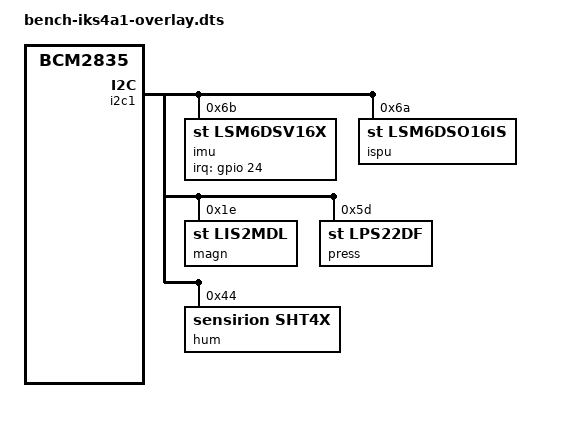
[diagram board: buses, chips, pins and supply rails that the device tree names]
/*
 * bench-iks4a1: the four supported sensors of an X-NUCLEO-IKS4A1 on I2C1.
 *
 * Declarative binding only. Nothing here probes, configures or reads
 * anything: it tells the kernel which driver owns which address, and the
 * drivers do the rest. That is the whole argument for an overlay over a
 * vendor library, and it is why this file is the entire hardware
 * description for the project.
 *
 * Applied with "dtoverlay=bench-iks4a1" in config.txt, which
 * kas/bench-iio.yml puts there through RPI_EXTRA_CONFIG.
 *
 * WHAT IS NOT HERE, AND WHY
 *
 * The STTS22H answers on the bus and has no node. A node naming a
 * compatible string the kernel does not know is not an error: the node is
 * created, nothing binds to it, and the part is invisible with no message
 * anywhere. Leaving it out and listing it in the inventory table is the
 * honest version of the same outcome.
 *
 * THE LSM6DSO16IS AT 0x6a NOW HAS A NODE, and the condition this comment
 * set for adding one has been met rather than waived. It read: check that
 * the st_lsm6dsx driver in the running kernel lists a matching compatible,
 * rather than assuming one. Checked on Thursday 1 October 2026 against the
 * source on the card, which carries it in five places, st_lsm6dsx_i2c.c
 * line 126 among them, and then demonstrated by instantiating the client
 * by hand with new_device and watching the driver probe it cleanly.
 *
 * That part was recorded as not-bound for two days and then as
 * unsupported, and it was neither. It was undeclared. The verdict
 * iio-probe printed, "driver present, nothing matched it: look at the
 * overlay, not the image", was correct every time it appeared.
 *
 * The LIS2DUXS12 has no node either. It looked intermittent on the bus
 * and was not: it declines the zero-length write that i2cdetect probes
 * with by default, and answers both "i2cdetect -r" and a direct register
 * read. An intermediate version of this comment concluded from one scan
 * that it was not on the shield at all.
 *
 * 0x19 AND 0x38 ARE UNDECLARED, NOT UNSUPPORTED, and the inventory called
 * both of them unsupported for two days. Joseph established on Thursday 1
 * October 2026, from UM3239 and ST's own shield overlay, that:
 *
 *   0x19  LIS2DUXS12  SB20 closed, SA0 high, ADD 33h; SB19 would be 0x18.
 *                     Driver compatible "st,lis2duxs12". Seeing 0x19 means
 *                     SB20 is closed, which is the configuration ST's
 *                     overlay expects, not an unknown device.
 *   0x38  STTS22H     the only address this part has on this board,
 *                     ADD 71h, schematic ADDw 70h. Driver compatible
 *                     "st,stts22h".
 *
 * ST's overlay instantiates lis2duxs12@19 and stts22h@38 alongside the
 * four here. So neither needs a driver written; both need a node, exactly
 * as 0x6a did.
 *
 * NEITHER NODE IS ADDED YET, and the reason differs for each.
 *
 * FOR 0x19 THE CHECK WAS RUN AND IT FAILED, Thursday 1 October 2026:
 *
 *     grep -iE "lis2duxs12|stts22h" /lib/modules/$(uname -r)/modules.alias
 *     find /lib/modules/$(uname -r) -iname "*lis2dux*" -o -iname "*stts22*"
 *
 * Both returned nothing. st_lis2duxs12 is in mainline but it is NOT in this
 * image, so a node here would be created, bind to nothing, and leave the
 * part silent rather than absent, which is the same failure 0x38 is kept
 * out for and for a different underlying reason. iio-probe reports the two
 * differently now, no-driver-in-image against out-of-tree, because the fix
 * differs: one needs an image that carries the module, the other needs the
 * driver vendored the way st_lsm6dsx was.
 *
 * The check was modules.alias and the module tree, NOT a grep of /usr/src:
 * only selected directories were ever extracted from linux-source-6.18 on
 * that card, so a missing file there means a missing extraction, and
 * reading it otherwise is the error that kept 0x6a closed for two days.
 *
 * Add the node when the module is in the image, and not before.
 *
 * For 0x38 there is a stronger reason to wait. st,stts22h lives in ST's
 * IIO tree rather than in mainline, so on a mainline-only kernel the node
 * would be created, nothing would bind to it, and the part would stay
 * invisible with no message anywhere. That is precisely the outcome the
 * second paragraph of this comment describes, and adding the node would
 * trade an honest inventory row for a silent one.
 *
 * ADDRESSES, measured Wednesday 30 September 2026 and confirmed against
 * UM3239 Rev 5 Table 1, whose defaults these all are:
 *
 *   0x19  LIS2DUXS12    ADD 33h, needs i2cdetect -r, driver not in image
 *   0x1e  LIS2MDL       ADD 3Ch, bound below
 *   0x38  STTS22H       ADD 71h, no node here, driver is out of mainline
 *   0x44  SHT40AD1B     ADD 89h, hwmon not IIO, vanishes under -r, bound below
 *   0x5d  LPS22DF       ADD BBh, bound below
 *   0x6a  LSM6DSO16IS   ADD D5h, WHO_AM_I 0x22, ISPU part, bound below
 *   0x6b  LSM6DSV16X    ADD D7h, WHO_AM_I 0x70, fusion part, bound below
 *
 * All seven sit on the main board of the kit, the X-NUCLEO-IQS4A1. The
 * detachable board on top of it, the STEVAL-MKE001A1, carries the Qvar
 * swipe electrodes and puts nothing on this bus (DB5091 Rev 4). The DIL24
 * socket is empty.
 *
 * Six of the seven answering every time is also the proof that the shield
 * is in Mode 1, the standard I2C mode, with J4 and J5 at 1-2 and 11-12.
 * In the sensor-hub modes the environmental parts move behind an IMU and
 * leave this bus entirely.
 *
 * The captures are in the project's docs/evidence directory.
 *
 * SPDX-License-Identifier: MIT
 */

/dts-v1/;
/plugin/;

/ {
	/*
	 * "brcm,bcm2835" is the compatible every Raspberry Pi overlay uses,
	 * including on the BCM2837 of a 3B+ and the BCM2711 of a 4. It
	 * matches the SoC family rather than the part, and the firmware
	 * accepts it on all of them.
	 */
	compatible = "brcm,bcm2835";

	fragment@0 {
		target = <&i2c1>;
		__overlay__ {
			#address-cells = <1>;
			#size-cells = <0>;

			/*
			 * Redundant with ENABLE_I2C, which puts
			 * dtparam=i2c_arm=on in config.txt, and kept anyway:
			 * this overlay should describe a working bus on its
			 * own, so that moving it to another image does not
			 * silently depend on a setting made somewhere else.
			 */
			status = "okay";

			/*
			 * The IMU, at 0x6b and NOT at 0x6a. This overlay
			 * assumed 0x6a until the bus was read: 0x6a answers
			 * WHO_AM_I 0x22, which is the LSM6DSO16IS, and 0x6b
			 * answers 0x70, which is this part. The driver checks
			 * WHO_AM_I during probe, so the old node found the
			 * wrong value and would have refused to bind, leaving
			 * the part on the bus and absent from IIO.
			 *
			 * One chip, one hardware FIFO, one interrupt
			 * line, and TWO IIO devices: st_lsm6dsx registers
			 * lsm6dsv16x_accel and lsm6dsv16x_gyro separately.
			 * They share the FIFO, so enabling both at different
			 * output data rates changes the FIFO packet pattern
			 * and with it the driver's timestamp reconstruction.
			 *
			 * LEVEL HIGH, NOT RISING EDGE, AND THIS IS THE FIX
			 * FOR CRITERION 4 RATHER THAN A PREFERENCE.
			 *
			 * This read <24 1> until Thursday 1 October 2026, and
			 * for four days the project recorded 23 to 51 spurious
			 * edges per real FIFO assertion and recommended a
			 * shorter jumper or a few hundred ohms in series.
			 * Measured either way on the same wire, same pin, same
			 * shield, same minute:
			 *
			 *   <24 1> edge    3269 interrupts, 326.90/s, 4672 samples
			 *   <24 4> level     23 interrupts,   2.30/s, 4608 samples
			 *
			 * A 142-fold reduction with the sample delivery
			 * unchanged, both counts exact multiples of the
			 * watermark. The 3246 edges that disappeared were never
			 * carrying data.
			 *
			 * INT1 is push-pull and stays asserted while the FIFO
			 * is above its watermark. An edge-triggered request
			 * counts every transition in the bounce train on a
			 * long unterminated wire; a level-sensitive one asks
			 * whether the line is high when it looks, and a ring
			 * that settles before the handler runs is invisible to
			 * it. The wire was never the fault. The request was.
			 *
			 * A level request also coalesces: the handler drains
			 * whatever is there, so 23 interrupts carried 4608
			 * samples, about three watermark batches each. That is
			 * why the measured rate is BELOW what watermark
			 * arithmetic predicts rather than equal to it, and it
			 * is also why criterion 4's contrast clause, which
			 * wants more than 400 per second at watermark 1, reads
			 * 15.60 instead. That clause assumes edge semantics.
			 *
			 * st,drdy-int-pin selects which of the chip's two
			 * interrupt pins the driver uses for data-ready and
			 * FIFO watermark events. 1 means INT1, which is the
			 * pin UM3239 Rev 5 Table 4 puts on CN9 pin 6, and that
			 * is the pin wired to GPIO24. The other IMU's INT1 is
			 * on CN8 pin 6, so the two are easy to confuse.
			 * Getting this wrong gives a
			 * device that probes, reads fine through sysfs, and
			 * never fills a buffer, because the interrupt the
			 * driver waits on is on a pin nothing is connected
			 * to.
			 */
			imu: lsm6dsv16x@6b {
				compatible = "st,lsm6dsv16x";
				reg = <0x6b>;
				interrupt-parent = <&gpio>;
				interrupts = <24 4>;	/* GPIO24, LEVEL HIGH */
				st,drdy-int-pin = <1>;
			};

			/*
			 * The second IMU, the ISPU part, added Thursday 1
			 * October 2026 once the compatible was confirmed in
			 * the running kernel's source rather than assumed.
			 * It gives two more IIO devices, lsm6dso16is_accel
			 * and lsm6dso16is_gyro, and takes the inventory to
			 * five working rows with no not-bound left.
			 *
			 * NO INTERRUPT PROPERTY, AND THAT IS DELIBERATE.
			 *
			 * UM3239 Rev 5 Table 4 puts this chip's INT1 on CN8
			 * pin 6 and its INT2 on CN9 pin 8. Neither is wired.
			 * The only interrupt jumper on this bench runs from
			 * CN9 pin 6, which is the OTHER IMU's INT1, to GPIO24.
			 *
			 * So pointing this node at GPIO24 would be wrong twice
			 * over: it would claim a line this chip does not
			 * drive, and it would share an IRQ with the
			 * LSM6DSV16X node above, which does drive it. The
			 * result is the failure the comment on that node
			 * describes, a device that probes, reads fine through
			 * sysfs and never fills a buffer, except that here it
			 * would also disturb a part that currently works.
			 *
			 * Without the property the driver registers the
			 * devices and the sysfs read path works. The buffered
			 * FIFO path does not, and cannot, until CN8 pin 6 is
			 * wired to a free GPIO and declared here.
			 */
			ispu: lsm6dso16is@6a {
				compatible = "st,lsm6dso16is";
				reg = <0x6a>;
			};

			/*
			 * The magnetometer. No FIFO of its own, which is
			 * exactly why it is the device the hrtimer trigger is
			 * demonstrated on: there is no hardware path to
			 * confuse the comparison with.
			 */
			magn: lis2mdl@1e {
				compatible = "st,lis2mdl";
				reg = <0x1e>;
			};

			/* Pressure. Polled, or driven by the same trigger. */
			press: lps22df@5d {
				compatible = "st,lps22df";
				reg = <0x5d>;
			};

			/*
			 * Humidity and temperature, and NOT an IIO device.
			 * sht4x is a hwmon driver, so this part appears under
			 * /sys/class/hwmon and in sensors(1), and never under
			 * /sys/bus/iio/devices. A program that enumerates IIO
			 * devices looking for humidity finds nothing and
			 * reports no error.
			 */
			hum: sht4x@44 {
				compatible = "sensirion,sht4x";
				reg = <0x44>;
			};
		};
	};
};
